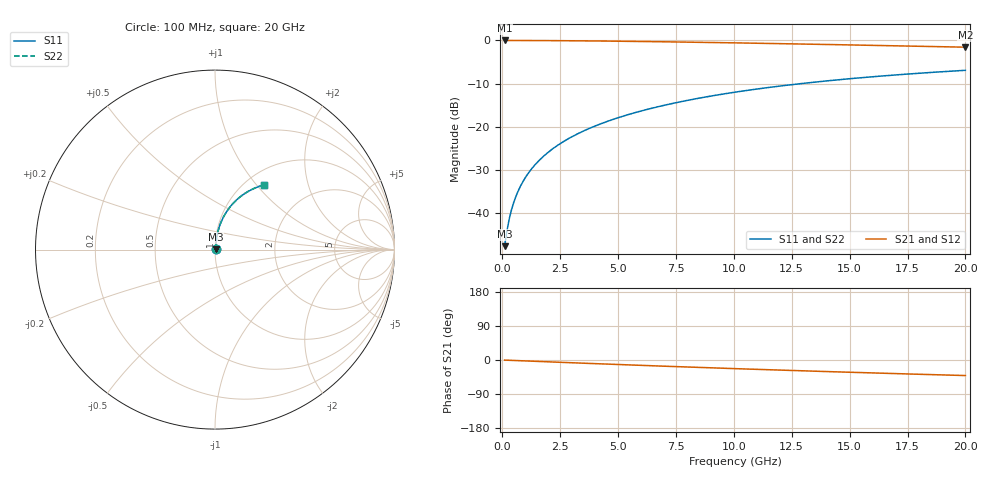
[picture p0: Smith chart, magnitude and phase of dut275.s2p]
! Touchstone file exported from HFSS 2024.1.0
!  File:  C:/UserFiles/LocalFiles/RDL_TSV_Batchsim/temp_RDL_top_275_1778689817.aedt
!  Generated:  12:32:46 AM May 14, 2026
!  Design:  RDL_top
!  Project:  temp_RDL_top_275_1778689817
!  Setup:  Setup1
!  Solution:  Sweep
! Variables:
!  dtsv = 10.80580581um
!  hbump = 3um
!  htsv = 64.79um
!  ldown = 100um
!  lrdl = 520.74um
!  p = 40
!  p1 = 55.64um
!  rhole = 1um
!  t = 450um
!  tdown = 3.915915916um
!  trdl = 3.93um
!  wdown = 15.38538539um
!  wrdl = 15.29um
# GHz S MA R 50.000000
! Terminal data exported
! Port[1] = Box2_T1
! Port[2] = Box2_T2
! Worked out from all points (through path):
!   200 points, 100 MHz to 20 GHz, reference 50 ohm
!   highest |S21| = -0.03 dB at 100 MHz (marker M1); lowest = -1.6 dB at 20 GHz (marker M2)
!   group delay of S21, straight-line fit = 5.68 ps
!   lowest |S11| = -47.7 dB at 100 MHz (marker M3), VSWR 1.01, Z = 50.3 + j0.267 ohm
!   |S11| at or under -10 dB: start of sweep to 12.93 GHz
!   |S22| runs from -47.7 to -6.9 dB; largest |S21 - S12| = 6.2e-15
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0.1  0.004144 39.9  0.9968 -0.3  0.9968 -0.3  0.004144 39.9
! Gamma 0 0 0 0
! Port Impedance 50 0 50 0
0.2  0.006212 58.2  0.9967 -0.5  0.9967 -0.5  0.006212 58.2
0.3  0.008566 66.6  0.9966 -0.7  0.9966 -0.7  0.008566 66.6
0.4  0.011 71.3  0.9965 -1.0  0.9965 -1.0  0.011 71.3
0.5  0.01345 74.2  0.9963 -1.2  0.9963 -1.2  0.01345 74.2
0.6  0.01592 76.2  0.9962 -1.5  0.9962 -1.5  0.01592 76.2
0.8  0.02088 78.7  0.9958 -2.0  0.9958 -2.0  0.02088 78.7
1.1  0.02838 80.7  0.9953 -2.7  0.9953 -2.7  0.02838 80.7
1.5  0.03844 81.9  0.9944 -3.7  0.9944 -3.7  0.03844 81.9
1.8  0.046 82.3  0.9936 -4.4  0.9936 -4.4  0.046 82.3
2.1  0.05359 82.4  0.9926 -5.1  0.9926 -5.1  0.05359 82.4
2.7  0.06878 82.2  0.9903 -6.6  0.9903 -6.6  0.06878 82.2
3.5  0.08907 81.5  0.9865 -8.4  0.9865 -8.4  0.08907 81.5
4.2  0.1068 80.6  0.9825 -10.1  0.9825 -10.1  0.1068 80.6
5  0.1271 79.5  0.9773 -11.9  0.9773 -11.9  0.1271 79.5
5.9  0.1498 78.0  0.9708 -14.0  0.9708 -14.0  0.1498 78.0
6.8  0.1723 76.5  0.9638 -15.9  0.9638 -15.9  0.1723 76.5
8.4  0.2117 73.7  0.9501 -19.4  0.9501 -19.4  0.2117 73.7
10.1  0.2524 70.6  0.9344 -22.9  0.9344 -22.9  0.2524 70.5
13.4  0.3263 64.5  0.9017 -29.4  0.9017 -29.4  0.3263 64.4
16.7  0.3923 58.6  0.8675 -35.4  0.8675 -35.4  0.3923 58.6
20  0.4499 53.0  0.8332 -41.0  0.8332 -41.0  0.4498 53.0
